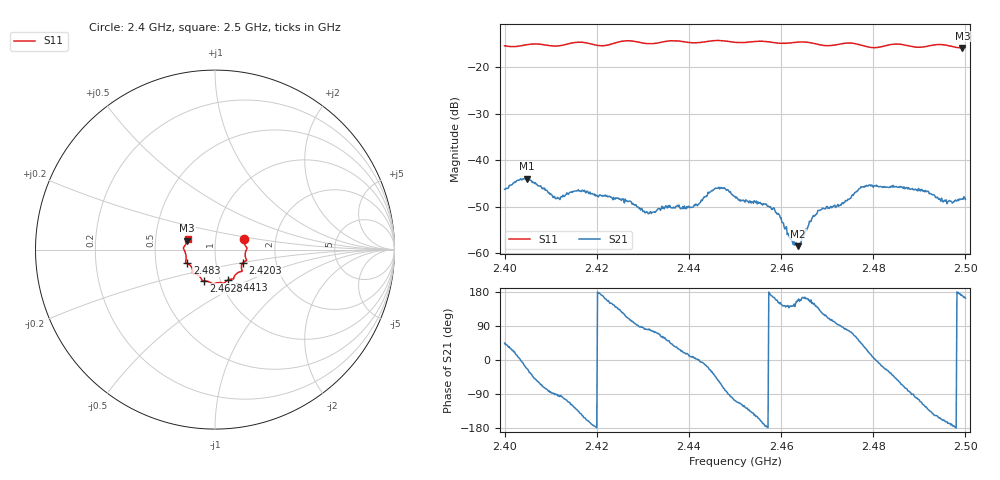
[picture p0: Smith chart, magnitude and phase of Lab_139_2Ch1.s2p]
# Hz S RI R 50
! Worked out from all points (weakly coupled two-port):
!   601 points, 2.4 GHz to 2.5 GHz, reference 50 ohm
!   highest |S21| = -43.97 dB at 2.4048 GHz (marker M1); lowest = -58.5 dB at 2.4637 GHz (marker M2)
!   lowest |S11| = -15.8 dB at 2.4993 GHz (marker M3), VSWR 1.39, Z = 36.5 + j3.72 ohm
!   |S11| at or under -10 dB: start of sweep to end of sweep
!   S12 and S22 are empty: the file has one direction only
!   S11 on the Smith chart (normalised r, x): 2.4 GHz: 1.37, +0.16; 2.4203 GHz: 1.35, -0.21; 2.4413 GHz: 1.09, -0.38; 2.4628 GHz: 0.83, -0.30; 2.483 GHz: 0.72, -0.11; 2.5 GHz: 0.73, +0.09
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2.4e9  0.1608 0.0568  0.00344 0.00342  0 0  0 0
2.404833e9  0.1749 0.014  0.00585 -0.00243  0 0  0 0
2.4115e9  0.1678 -0.0265  -0.000304 -0.00397  0 0  0 0
2.416667e9  0.176 -0.0616  -0.00365 -0.00278  0 0  0 0
2.420333e9  0.1552 -0.0742  -0.00402 0.000215  0 0  0 0
2.427e9  0.1512 -0.1209  -0.0012 0.00343  0 0  0 0
2.431e9  0.1235 -0.1311  0.000452 0.00269  0 0  0 0
2.433333e9  0.1081 -0.1485  0.00101 0.00283  0 0  0 0
2.441333e9  0.0743 -0.1683  0.00324 0.000312  0 0  0 0
2.446e9  0.0496 -0.1883  0.00332 -0.0037  0 0  0 0
2.45e9  0.0294 -0.1839  -0.0012 -0.00387  0 0  0 0
2.458167e9  -0.0243 -0.1843  -0.00289 0.000667  0 0  0 0
2.462833e9  -0.0629 -0.1745  -0.00112 0.000706  0 0  0 0
2.463667e9  -0.0673 -0.1749  -0.0011 0.000437  0 0  0 0
2.466667e9  -0.0742 -0.1673  -0.00202 0.0012  0 0  0 0
2.477333e9  -0.1244 -0.1217  0.0037 0.00364  0 0  0 0
2.483e9  -0.1547 -0.0766  0.00454 -0.00237  0 0  0 0
2.483333e9  -0.1569 -0.0755  0.00438 -0.00256  0 0  0 0
2.4915e9  -0.1676 -0.012  -0.00255 -0.00379  0 0  0 0
2.495667e9  -0.1735 0.0146  -0.00345 -0.00105  0 0  0 0
2.499333e9  -0.1544 0.0496  -0.00375 0.000699  0 0  0 0
2.5e9  -0.1528 0.0586  -0.00362 0.00108  0 0  0 0
